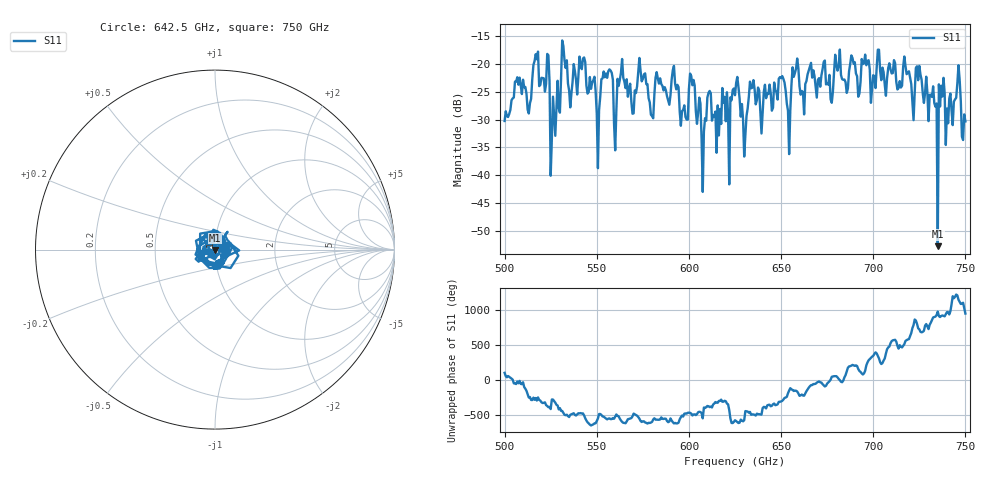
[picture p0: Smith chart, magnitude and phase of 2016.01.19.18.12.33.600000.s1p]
!Created with skrf (http://scikit-rf.org).
# GHz S RI R 50.0
!freq ReS11 ImS11
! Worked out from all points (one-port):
!   401 points, 500 GHz to 750 GHz, reference 50 ohm
!   lowest |S11| = -52.8 dB at 735 GHz (marker M1), VSWR 1.00, Z = 50 - j0.228 ohm
!   |S11| at or under -10 dB: start of sweep to end of sweep
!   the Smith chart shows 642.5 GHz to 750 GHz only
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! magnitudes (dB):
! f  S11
! 500 GHz  -30.3
! 506.9 GHz  -22.4
! 513.1 GHz  -28.9
! 516.9 GHz  -18.2
! 523.1 GHz  -18.2
! 526.2 GHz  -25.9
! 531.2 GHz  -15.8
! 542.5 GHz  -19.0
! 550.6 GHz  -38.7
! 553.8 GHz  -21.3
! 562.5 GHz  -22.8
! 593.8 GHz  -23.7
! 601.9 GHz  -23.8
! 608.1 GHz  -32.2
! 610.6 GHz  -25.2
! 621.2 GHz  -29.0
! 625 GHz  -25.6
! 630.6 GHz  -32.8
! 634.4 GHz  -24.3
! 650.6 GHz  -22.2
! 653.8 GHz  -28.4
! 656.2 GHz  -20.6
! 687.5 GHz  -20.0
! 718.8 GHz  -21.6
! 735 GHz  -52.8
! 736.9 GHz  -23.9
! 745.6 GHz  -23.5
! 750 GHz  -30.3
